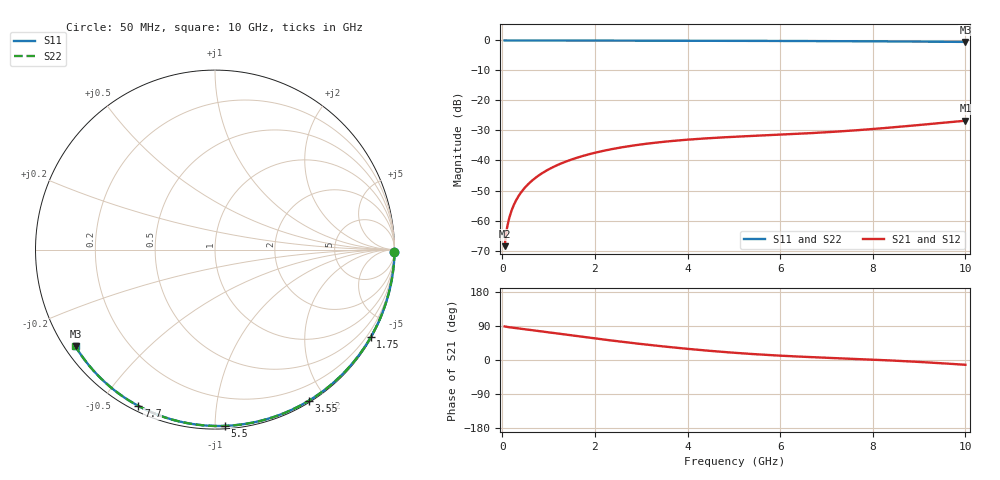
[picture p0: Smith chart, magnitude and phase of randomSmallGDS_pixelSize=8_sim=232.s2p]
! freq	dB(S11)	phase(S11)	dB(S12)	phase(S12)
!  dB(S21)	phase(S21)	dB(S22)	phase(S22)
!S-par simulation data
#  GHz  S  DB  R 50
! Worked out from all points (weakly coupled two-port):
!   200 points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, 50 MHz to 10 GHz, reference 50 ohm
!   highest |S21| = -26.74 dB at 10 GHz (marker M1); lowest = -68.5 dB at 50 MHz (marker M2)
!   lowest |S11| = -0.5 dB at 10 GHz (marker M3), VSWR 35.96, Z = 1.53 - j15.7 ohm
!   |S11| at or under -10 dB: nowhere
!   |S22| runs from -0.5 to 0.0 dB; largest |S21 - S12| = 0
!   S11 on the Smith chart (normalised r, x): 50 MHz: open; 1.75 GHz: 0.03, -3.81; 3.55 GHz: 0.02, -1.80; 5.5 GHz: 0.02, -1.06; 7.7 GHz: 0.02, -0.62; 10 GHz: 0.03, -0.31
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0.05  -0.00 -0.9  -68.55 88.6  -68.55 88.6  -0.00 -0.9
0.1  -0.00 -1.7  -62.59 87.4  -62.59 87.4  -0.00 -1.7
0.15  -0.00 -2.6  -59.13 86.4  -59.13 86.4  -0.00 -2.6
0.2  -0.00 -3.4  -56.68 85.6  -56.68 85.6  -0.00 -3.4
0.25  -0.00 -4.3  -54.77 84.8  -54.77 84.8  -0.00 -4.3
0.35  -0.00 -6.0  -51.90 83.3  -51.90 83.3  -0.00 -6.0
0.5  -0.01 -8.5  -48.84 81.0  -48.84 81.0  -0.01 -8.5
0.7  -0.01 -11.9  -45.97 77.7  -45.97 77.7  -0.01 -11.9
1  -0.02 -17.0  -42.96 72.9  -42.96 72.9  -0.02 -17.0
1.35  -0.03 -22.8  -40.49 67.2  -40.49 67.2  -0.03 -22.8
1.75  -0.04 -29.4  -38.44 60.8  -38.44 60.8  -0.04 -29.4
2.5  -0.05 -41.6  -35.83 49.3  -35.83 49.3  -0.05 -41.6
3.4  -0.08 -55.8  -33.91 36.8  -33.91 36.8  -0.08 -55.8
3.55  -0.08 -58.1  -33.67 34.9  -33.67 34.9  -0.08 -58.1
4.3  -0.10 -69.4  -32.73 26.1  -32.73 26.1  -0.10 -69.4
5.05  -0.12 -80.3  -32.07 18.7  -32.07 18.7  -0.12 -80.3
5.5  -0.14 -86.7  -31.74 15.0  -31.74 15.0  -0.14 -86.7
6.7  -0.20 -103.0  -30.85 7.4  -30.85 7.4  -0.20 -103.1
7.7  -0.26 -116.1  -29.86 2.4  -29.86 2.4  -0.26 -116.2
8.35  -0.32 -124.4  -29.06 -1.0  -29.06 -1.0  -0.32 -124.5
9.2  -0.40 -135.1  -27.89 -6.5  -27.89 -6.5  -0.40 -135.2
10  -0.48 -145.2  -26.74 -12.6  -26.74 -12.6  -0.48 -145.3
